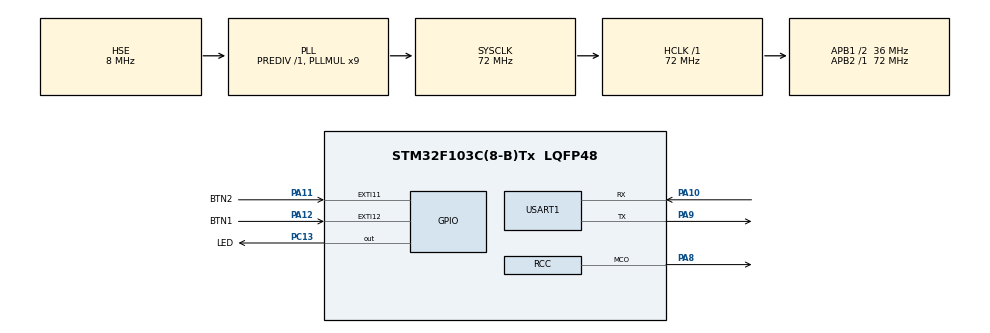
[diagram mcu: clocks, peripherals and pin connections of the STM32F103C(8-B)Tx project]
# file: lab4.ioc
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Dma.Request0=USART1_TX
Dma.USART1_TX.0.Direction=DMA_MEMORY_TO_PERIPH
Dma.USART1_TX.0.Instance=DMA1_Channel4
Dma.USART1_TX.0.MemDataAlignment=DMA_MDATAALIGN_BYTE
Dma.USART1_TX.0.MemInc=DMA_MINC_ENABLE
Dma.USART1_TX.0.Mode=DMA_NORMAL
Dma.USART1_TX.0.PeriphDataAlignment=DMA_PDATAALIGN_BYTE
Dma.USART1_TX.0.PeriphInc=DMA_PINC_DISABLE
Dma.USART1_TX.0.Priority=DMA_PRIORITY_LOW
Mcu.Family=STM32F1
Mcu.Name=STM32F103C(8-B)Tx
Mcu.Package=LQFP48
NVIC.DMA1_Channel4_IRQn=true\:0\:0\:false\:false\:true\:false\:true\:true
NVIC.PriorityGroup=NVIC_PRIORITYGROUP_4
NVIC.TIM2_IRQn=true\:0\:0\:false\:false\:true\:true\:true\:true
NVIC.USART1_IRQn=true\:0\:0\:false\:false\:true\:true\:true\:true
PA10.Mode=Asynchronous
PA10.Signal=USART1_RX
PA11.GPIO_Label=BTN2
PA11.GPIO_ModeDefaultEXTI=GPIO_MODE_IT_FALLING
PA11.GPIO_PuPd=GPIO_PULLUP
PA11.Signal=GPXTI11
PA12.GPIO_Label=BTN1
PA12.GPIO_ModeDefaultEXTI=GPIO_MODE_IT_FALLING
PA12.GPIO_PuPd=GPIO_PULLUP
PA12.Signal=GPXTI12
PA13.Mode=Serial_Wire
PA13.Signal=SYS_JTMS-SWDIO
PA14.Mode=Serial_Wire
PA14.Signal=SYS_JTCK-SWCLK
PA8.Mode=Clock-out
PA8.Signal=RCC_MCO
PA9.Mode=Asynchronous
PA9.Signal=USART1_TX
PC13-TAMPER-RTC.GPIO_Label=LED
PC13-TAMPER-RTC.Signal=GPIO_Output
PC14-OSC32_IN.Mode=LSE-External-Oscillator
PC14-OSC32_IN.Signal=RCC_OSC32_IN
PC15-OSC32_OUT.Mode=LSE-External-Oscillator
PC15-OSC32_OUT.Signal=RCC_OSC32_OUT
PD0-OSC_IN.Mode=HSE-External-Oscillator
PD0-OSC_IN.Signal=RCC_OSC_IN
PD1-OSC_OUT.Mode=HSE-External-Oscillator
PD1-OSC_OUT.Signal=RCC_OSC_OUT
ProjectManager.HeapSize=0x200
ProjectManager.StackSize=0x400
ProjectManager.TargetToolchain=STM32CubeIDE
RCC.AHBFreq_Value=72000000
RCC.APB1CLKDivider=RCC_HCLK_DIV2
RCC.APB1Freq_Value=36000000
RCC.APB1TimFreq_Value=72000000
RCC.APB2Freq_Value=72000000
RCC.APB2TimFreq_Value=72000000
RCC.HCLKFreq_Value=72000000
RCC.PLLMUL=RCC_PLL_MUL9
RCC.PLLSourceVirtual=RCC_PLLSOURCE_HSE
RCC.RCC_MCOSource=RCC_MCO1SOURCE_PLLCLK
RCC.SYSCLKFreq_VALUE=72000000
RCC.SYSCLKSource=RCC_SYSCLKSOURCE_PLLCLK
RCC.USBFreq_Value=72000000
USART1.VirtualMode=VM_ASYNC
VP_TIM2_VS_ClockSourceINT.Mode=Internal
board=custom

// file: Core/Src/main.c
/* USER CODE BEGIN Header */
/**
  ******************************************************************************
  * @file           : main.c
  * @brief          : Main program body
  ******************************************************************************
  * @attention
  *
  * Copyright (c) 2023 STMicroelectronics.
  * All rights reserved.
  *
  * This software is licensed under terms that can be found in the LICENSE file
  * in the root directory of this software component.
  * If no LICENSE file comes with this software, it is provided AS-IS.
  *
  ******************************************************************************
  */
/* USER CODE END Header */
#include "main.h"
#include "dma.h"
#include "tim.h"
#include "usart.h"
#include "gpio.h"

/* USER CODE BEGIN Includes */
extern UART_HandleTypeDef huart1;
extern DMA_HandleTypeDef hdma_usart1_tx;
#include <stdint.h>
#include <string.h>
#include <stdio.h>

#ifdef __GNUC__
#define PUTCHAR_PROTOTYPE int __io_putchar(int ch)
#else
#define PUTCHAR_PROTOTYPE int fputc(int ch, FILE *f)
#endif
PUTCHAR_PROTOTYPE
{
    HAL_UART_Transmit(&huart1 , (uint8_t *)&ch, 1, 0xFFFF);
    return ch;
}

/* USER CODE END Includes */

/* USER CODE BEGIN PTD */
// typedef void (*pFunct)(void);
// typedef struct{

//   fun* next;
// }fun;
// typedef struct{

// }FunQueen;

/* USER CODE END PTD */

/* USER CODE BEGIN PM */
//#define TEST_Dither
//#define TEST_DMA
// #define LED_FB  //前后台LED点亮
//  #define LED_IT  //中断LED点亮
//#define LED ((defined LED_IT)||(defined LED_FB))

//  #define Cyclocomputer_FB  //码表前后�????????
 #define Cyclocomputer_IT  //码表中断

#define BUFFER_SIZE 128

#define CycleLength 2
#define NUM_Modes   2
#define RECORD_UPDATE_TIME 200
#define DISPLAY_TIME 1000
#define RECORD_NUMS  10

/* USER CODE END PM */

/* USER CODE BEGIN PV */
uint8_t data_buffer[BUFFER_SIZE];

#ifdef TEST_Dither
uint8_t rising;
uint8_t LED_flg;
uint16_t dither;
uint8_t Change;
uint32_t times;
uint8_t timeR;
#endif

#ifdef TEST_DMA

uint32_t timeR;       //TIM记录时间，精度为1ms
#endif
#ifdef LED_FB
int LED_flag;  //标志LED状�?�，�????????1翻转LED
int times; //翻转次数
uint32_t timeR;       //TIM记录时间，精度为1ms
#endif

#ifdef LED_IT
int times;
uint32_t timeR;       //TIM记录时间，精度为1ms
#endif

#ifdef LED
//uint16_t dithering;
#endif

#ifdef Cyclocomputer_FB
uint32_t cycles;    //总圈数，计算行程，A1计算圈数
uint8_t  record[10];//循环记录新的2000ms�????????200ms圈数，计算�?�度
uint8_t  new_record;//记录�????????�????????200ms的圈�????????
uint8_t  cur_index; //循环记录要标记当前记录的位置
uint8_t  cur_mode;  //当前模式�????????0显示行程1显示速度 ；A2切换模式

uint8_t Record_UT_Flg; //更新记录
uint8_t Display_Flg;   //显示标志，每秒显示一�????????
uint8_t Add_Cycle_Flg; //增加圈数
uint8_t Switch_Mode_Flg;//模式切换标志

uint32_t timeR;       //TIM记录时间，精度为1ms

#endif

#ifdef Cyclocomputer_IT
uint32_t cycles;    //总圈数，计算行程，A1计算圈数
uint8_t  record[10];//循环记录新的2000ms�????????200ms圈数，计算�?�度
uint8_t  new_record;//记录�????????�????????200ms的圈�????????
uint8_t  cur_index; //循环记录要标记当前记录的位置
uint8_t  cur_mode;  //当前模式�????????0显示行程1显示速度 ；A2切换模式

uint32_t timeR;//TIM记录时间，精度为1ms
#endif

/* USER CODE END PV */

void SystemClock_Config(void);
/* USER CODE BEGIN PFP */
uint8_t SUM(uint8_t * array,uint8_t len);
void My_Delay(int delay);

/* USER CODE END PFP */

int main(void)
{

  /* MCU Configuration--------------------------------------------------------*/

  /* Reset of all peripherals, Initializes the Flash interface and the Systick. */
  HAL_Init();

  /* Configure the system clock */
  SystemClock_Config();

  /* Initialize all configured peripherals */
  MX_GPIO_Init();
  MX_DMA_Init();
  MX_USART1_UART_Init();
  MX_TIM2_Init();
  /* USER CODE BEGIN 2 */
  HAL_TIM_Base_Start_IT(&htim2);
  // HAL_DMA_Start_IT(&hdma_usart1_tx,(uint32_t)data_buffer,(uint32_t)(data_buffer+BUFFER_SIZE),BUFFER_SIZE);

  #ifdef LED
//  HAL_TIM_Base_Start_IT(&htim2);
  #endif

  /* USER CODE END 2 */

  /* Infinite loop */
  /* USER CODE BEGIN WHILE */
  while (1)
  {
    #ifdef TEST_Dither
    if(LED_flg == 1 && Change == 0){
      HAL_GPIO_TogglePin(LED_GPIO_Port, LED_Pin);
      Change =1;
      times++;
      // printf("前后台模式，LED翻转 %d 次\r\n",times);
      sprintf(data_buffer,"前后台模式，LED翻转 %d 次\r\n",times);
      HAL_UART_Transmit_DMA(&huart1,data_buffer,128);
    }
    // printf("rising:%d  Dither:%X  LED_flg:%d  Change: %d\r\n",rising,dither,LED_flg,Change);

    #endif

	#ifdef TEST_DMA
	  // uint8_t  ch[] = "hello,dma\r\n";
    float f =2.345;
    sprintf(data_buffer,"Speed:%lf m/s\r\n",f);
	  HAL_UART_Transmit_DMA(&huart1,data_buffer,128);
	  HAL_Delay(500);
	#endif
    #ifdef LED_FB
//     printf("LED_FLG:%d  \r\n",LED_flag);
    if(LED_flag){
    	HAL_Delay(16);
      if(HAL_GPIO_ReadPin(BTN1_GPIO_Port, BTN1_Pin) == GPIO_PIN_RESET){
        HAL_GPIO_TogglePin(LED_GPIO_Port, LED_Pin);

        times++;
        // printf("前后台模式，LED翻转 %d 次\r\n",times);
        sprintf(data_buffer,"前后台模式，LED翻转 %d 次\r\n",times);
        HAL_UART_Transmit_DMA(&huart1,data_buffer,128);
      }
      LED_flag = 0;
    }
    #endif

    #ifdef Cyclocomputer_FB
//    printf("hello,Cyclocomputer_FB\r\n");
    if(Switch_Mode_Flg){
      HAL_Delay(10);
      if(HAL_GPIO_ReadPin(BTN2_GPIO_Port, BTN2_Pin) == GPIO_PIN_RESET){
        cur_mode = (cur_mode+1 ) % NUM_Modes;
        memset(data_buffer,0x00,BUFFER_SIZE);
        sprintf(data_buffer,"切换模式，当前模�? %d\r\n",cur_mode);
        HAL_UART_Transmit_DMA(&huart1,data_buffer,128);
        Switch_Mode_Flg = 0;
      }

    }
    if(Add_Cycle_Flg){
      HAL_Delay(10);
      if(HAL_GPIO_ReadPin(BTN1_GPIO_Port, BTN1_Pin) == GPIO_PIN_RESET){
        new_record += Add_Cycle_Flg;
        cycles += Add_Cycle_Flg;
        Add_Cycle_Flg = 0;
      }
    }
    if(Record_UT_Flg){
      record[cur_index] = new_record;
      cur_index = (cur_index+1) % RECORD_NUMS;
      new_record = 0;
      Record_UT_Flg = 0;
    }
    if(Display_Flg){
      if(cur_mode){//速度
        int speed = SUM(record, RECORD_NUMS) * CycleLength / 2;
        memset(data_buffer,0x00,BUFFER_SIZE);
        sprintf(data_buffer,"Speed: %dm/s\r\n",speed);
        HAL_UART_Transmit_DMA(&huart1,data_buffer,128);
      } else {
        int distance = cycles * CycleLength ;
        memset(data_buffer,0x00,BUFFER_SIZE);
        sprintf(data_buffer,"Distance: %dm\r\n",distance);
        HAL_UART_Transmit_DMA(&huart1,data_buffer,128);
      }
      Display_Flg = 0;
    }
    #endif

    #ifdef Cyclocomputer_IT

    #endif

//	  printf("GPIOA: %d \r\n",HAL_GPIO_ReadPin(BTN1_GPIO_Port, BTN1_Pin));

    /* USER CODE END WHILE */

  }
}

void SystemClock_Config(void)
{
  RCC_OscInitTypeDef RCC_OscInitStruct = {0};
  RCC_ClkInitTypeDef RCC_ClkInitStruct = {0};

  /** Initializes the RCC Oscillators according to the specified parameters
  * in the RCC_OscInitTypeDef structure.
  */
  RCC_OscInitStruct.OscillatorType = RCC_OSCILLATORTYPE_HSE;
  RCC_OscInitStruct.HSEState = RCC_HSE_ON;
  RCC_OscInitStruct.HSEPredivValue = RCC_HSE_PREDIV_DIV1;
  RCC_OscInitStruct.HSIState = RCC_HSI_ON;
  RCC_OscInitStruct.PLL.PLLState = RCC_PLL_ON;
  RCC_OscInitStruct.PLL.PLLSource = RCC_PLLSOURCE_HSE;
  RCC_OscInitStruct.PLL.PLLMUL = RCC_PLL_MUL9;
  if (HAL_RCC_OscConfig(&RCC_OscInitStruct) != HAL_OK)
  {
    Error_Handler();
  }

  /** Initializes the CPU, AHB and APB buses clocks
  */
  RCC_ClkInitStruct.ClockType = RCC_CLOCKTYPE_HCLK|RCC_CLOCKTYPE_SYSCLK
                              |RCC_CLOCKTYPE_PCLK1|RCC_CLOCKTYPE_PCLK2;
  RCC_ClkInitStruct.SYSCLKSource = RCC_SYSCLKSOURCE_PLLCLK;
  RCC_ClkInitStruct.AHBCLKDivider = RCC_SYSCLK_DIV1;
  RCC_ClkInitStruct.APB1CLKDivider = RCC_HCLK_DIV2;
  RCC_ClkInitStruct.APB2CLKDivider = RCC_HCLK_DIV1;

  if (HAL_RCC_ClockConfig(&RCC_ClkInitStruct, FLASH_LATENCY_2) != HAL_OK)
  {
    Error_Handler();
  }
  HAL_RCC_MCOConfig(RCC_MCO, RCC_MCO1SOURCE_PLLCLK, RCC_MCODIV_1);
}

/* USER CODE BEGIN 4 */
void HAL_GPIO_EXTI_Callback(uint16_t GPIO_Pin)
{
	// printf("hello\r\n");
//	HAL_GPIO_TogglePin(LED_GPIO_Port, LED_Pin);
  #ifdef  TEST_Dither
  if(GPIO_Pin == BTN1_Pin){
    if(HAL_GPIO_ReadPin(BTN1_GPIO_Port, BTN1_Pin) == GPIO_PIN_RESET){
      rising = 1;
    } else {
      rising = 0;
    }

  }
  #endif

  #ifdef LED_FB
  if(GPIO_Pin == BTN1_Pin){
//    My_Delay(16);
    if(HAL_GPIO_ReadPin(BTN1_GPIO_Port, BTN1_Pin) == GPIO_PIN_RESET)
      LED_flag = 1;
  }
  #endif
  #ifdef LED_IT
  if(GPIO_Pin == BTN1_Pin){
    My_Delay(16);
    if(HAL_GPIO_ReadPin(BTN1_GPIO_Port, BTN1_Pin) == GPIO_PIN_RESET /*&& dithering == 0XFFFF*/){
      HAL_GPIO_TogglePin(LED_GPIO_Port, LED_Pin);
      times++;
      // printf("中断模式，LED翻转 %d 次\r\n",times);
      sprintf(data_buffer,"中断模式，LED翻转 %d 次\r\n",times);
      HAL_UART_Transmit_DMA(&huart1,data_buffer,128);
    }
  }
  #endif
  #ifdef TEST_DMA
  if(GPIO_Pin == BTN1_Pin){
    My_Delay(16);
    if(HAL_GPIO_ReadPin(BTN1_GPIO_Port, BTN1_Pin) == GPIO_PIN_RESET){
      // uint8_t  ch[] = "hello,dma\r\n";
      sprintf(data_buffer,"hello,IT_DMA\r\n");
      HAL_UART_Transmit_DMA(&huart1,data_buffer,15);
    }

  }
  #endif
  #ifdef Cyclocomputer_FB
  if(GPIO_Pin == BTN1_Pin && HAL_GPIO_ReadPin(BTN1_GPIO_Port, BTN1_Pin) == GPIO_PIN_RESET){
    // My_Delay(10);
    // if(HAL_GPIO_ReadPin(BTN1_GPIO_Port, BTN1_Pin) == GPIO_PIN_RESET){
      Add_Cycle_Flg  = 1;
    // }
  }
  if(GPIO_Pin == BTN2_Pin && HAL_GPIO_ReadPin(BTN2_GPIO_Port, BTN2_Pin) == GPIO_PIN_RESET){
	  // printf("333\r\n");
    // My_Delay(10);
    // printf("111\r\n");
    // if(HAL_GPIO_ReadPin(BTN2_GPIO_Port, BTN2_Pin) == GPIO_PIN_RESET){
      Switch_Mode_Flg = 1;
      // printf("222\r\n");
    // }
  }

  #endif

  #ifdef Cyclocomputer_IT
    if(GPIO_Pin == BTN1_Pin && HAL_GPIO_ReadPin(BTN1_GPIO_Port, BTN1_Pin) == GPIO_PIN_RESET){
    My_Delay(16);
    if(HAL_GPIO_ReadPin(BTN1_GPIO_Port, BTN1_Pin) == GPIO_PIN_RESET){
      cycles ++;
      new_record++;
    }
  }
  if(GPIO_Pin == BTN2_Pin && HAL_GPIO_ReadPin(BTN2_GPIO_Port, BTN2_Pin) == GPIO_PIN_RESET){
    My_Delay(16);
    if(HAL_GPIO_ReadPin(BTN2_GPIO_Port, BTN2_Pin) == GPIO_PIN_RESET){
      cur_mode = (cur_mode+1 ) % NUM_Modes;
      memset(data_buffer,0x00,BUFFER_SIZE);
//      sprintf(data_buffer,"切换模式，当前模�? %d\r\n",cur_mode);
      HAL_UART_Transmit_DMA(&huart1,data_buffer,128);
    }
  }

  #endif

}

void HAL_TIM_PeriodElapsedCallback(TIM_HandleTypeDef *htim)
{
  #ifdef TEST_Dither
  if(htim == &htim2){
    timeR++;
    if(rising){
      dither <<= 1;
      dither += 1;
    } else {
      dither <<=1;
      dither += 0;
    }
    if(dither == 0xFFFF){
      if(Change == 0)
        LED_flg = 1;
    }else{
      LED_flg =0;
      Change = 0;
    }
  }

  #endif
  #if (defined LED_IT) ||(defined LED_FB )
  if(htim == &htim2){
    timeR++;
  }

  #endif

 #ifdef Cyclocomputer_FB
  if(htim == &htim2){
     timeR++;
//     printf("hello,TIM2  %d\r\n",timeR);
     if(timeR % RECORD_UPDATE_TIME == 0){
       Record_UT_Flg = 1;
     }
     if(timeR % DISPLAY_TIME == 0){
       Display_Flg = 1;
     }
  }
  #endif

  #ifdef Cyclocomputer_IT
  if(htim == &htim2){
     timeR++;
     if(timeR % RECORD_UPDATE_TIME == 0){
       record[cur_index] = new_record;
       cur_index = (cur_index+1) % RECORD_NUMS;
       new_record = 0;
     }
     if(timeR % DISPLAY_TIME == 0){
      if(cur_mode){//速度
//        int speed = SUM(record, RECORD_NUMS) * CycleLength / 2;
        memset(data_buffer,0x00,BUFFER_SIZE);
//        sprintf(data_buffer,"Speed: %dm/s\r\n",speed);
        HAL_UART_Transmit_DMA(&huart1,data_buffer,128);
      } else {
//        int distance = cycles * CycleLength ;
        memset(data_buffer,0x00,BUFFER_SIZE);
//        sprintf(data_buffer,"Distance: %dm\r\n",distance);
        HAL_UART_Transmit_DMA(&huart1,data_buffer,128);
      }
     }
  }

  #endif
}
uint8_t SUM(uint8_t * array,uint8_t len)
{
  int i;
  uint8_t sum=0;
  for(i=0;i<len;i++){
    sum += array[i];
  }
  return sum;
}
void My_Delay(int delay)
{
	int start = timeR;
	while(timeR - start < delay);
}

/* USER CODE END 4 */

void Error_Handler(void)
{
  __disable_irq();
  while (1)
  {
  }
}
